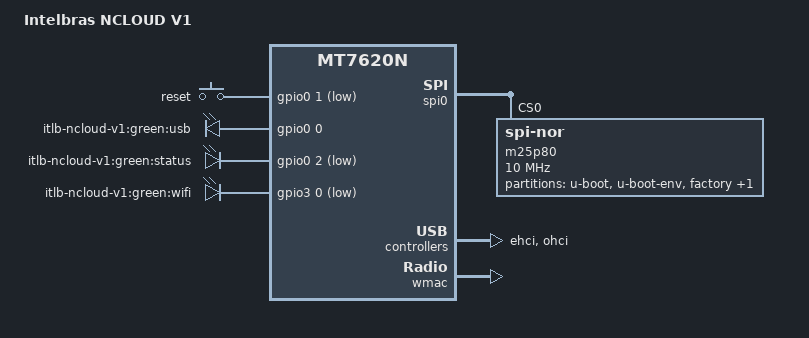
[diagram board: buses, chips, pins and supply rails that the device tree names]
/dts-v1/;

#include "mt7620n.dtsi"

#include <dt-bindings/gpio/gpio.h>
#include <dt-bindings/input/input.h>

/ {
		compatible = "intelbras,itlb-ncloud-v1", "ralink,mt7620n-soc";
		model = "Intelbras NCLOUD V1";

		aliases {
			led-boot = &led_status;
			led-failsafe = &led_status;
			led-running = &led_status;
			led-upgrade = &led_status;
		};

		gpio-keys-polled {
			compatible = "gpio-keys-polled";
			#address-cells = <1>;
			#size-cells = <0>;
			poll-interval = <20>;

			reset {
				label = "reset";
				gpios = <&gpio0 1 GPIO_ACTIVE_LOW>;
				linux,code = <KEY_RESTART>;
			};
		};

		gpio-leds {
			compatible = "gpio-leds";

			usb {
				label = "itlb-ncloud-v1:green:usb";
				gpios = <&gpio0 0 GPIO_ACTIVE_HIGH>;
			};

			led_status: status {
				label = "itlb-ncloud-v1:green:status";
				gpios = <&gpio0 2 GPIO_ACTIVE_LOW>;
			};

			wifi {
				label = "itlb-ncloud-v1:green:wifi";
				gpios = <&gpio3 0 GPIO_ACTIVE_LOW>;
			};

		};
	};

&gpio3 {
	status = "okay";
};

&spi0 {
	status = "okay";

	m25p80@0 {
		#address-cells = <1>;
		#size-cells = <1>;
		compatible = "jedec,spi-nor";
		reg = <0>;
		spi-max-frequency = <10000000>;

		partition@0 {
			label = "u-boot";
			reg = <0x0 0x30000>;
			read-only;
		};

		partition@30000 {
			label = "u-boot-env";
			reg = <0x30000 0x10000>;
			read-only;
		};

		factory: partition@40000 {
			label = "factory";
			reg = <0x40000 0x10000>;
			read-only;
		};

		partition@50000 {
			label = "firmware";
			reg = <0x50000 0x7b0000>;
		};
	};
};

&pinctrl {
	state_default: pinctrl0 {
		gpio {
			ralink,group = "i2c", "wled";
			ralink,function = "gpio";
		};
	};
};

&ethernet {
	mediatek,portmap = "llllw";
	mtd-mac-address = <&factory 4>;
	pinctrl-names = "default";
	pinctrl-0 = <&ephy_pins>;
};

&ehci {
	status = "okay";
};

&ohci {
	status = "okay";
};

&wmac {
	ralink,mtd-eeprom = <&factory 0>;
	mtd-mac-address-increment = <1>;
};

